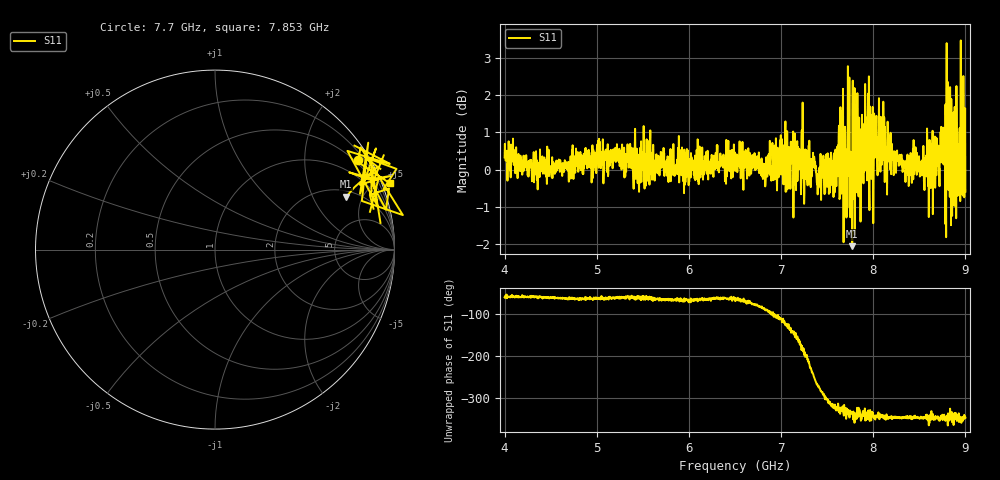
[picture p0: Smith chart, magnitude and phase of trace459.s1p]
! Created with skrf 1.8.0 (http://scikit-rf.org).
# Hz S RI R 50.0
!freq ReS11 ImS11
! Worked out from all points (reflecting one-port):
!   1601 points, 4 GHz to 9 GHz, reference 50 ohm
!   lowest |S11| = -2.1 dB at 7.772 GHz (marker M1), VSWR 8.46, Z = 119 + j185 ohm
!   phase of S11 starts at -60 deg and turns -287 deg over the sweep
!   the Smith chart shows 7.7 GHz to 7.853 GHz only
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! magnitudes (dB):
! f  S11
! 4 GHz  0.3
! 4.625 GHz  -0.2
! 5.25 GHz  0.1
! 5.875 GHz  0.1
! 6.5 GHz  0.5
! 6.809 GHz  0.2
! 7.125 GHz  0.5
! 7.209 GHz  0.2
! 7.262 GHz  0.5
! 7.353 GHz  0.1
! 7.409 GHz  -0.3
! 7.578 GHz  0.4
! 7.647 GHz  0.0
! 7.75 GHz  -1.3
! 7.772 GHz  -2.1
! 7.803 GHz  1.7
! 7.859 GHz  0.8
! 7.928 GHz  0.4
! 7.962 GHz  1.7
! 7.981 GHz  -0.3
! 8.038 GHz  0.7
! 8.375 GHz  0.2
! 8.647 GHz  -1.2
! 8.822 GHz  1.4
! 8.875 GHz  0.8
! 8.956 GHz  0.2
! 8.972 GHz  0.0
! 9 GHz  -0.6
